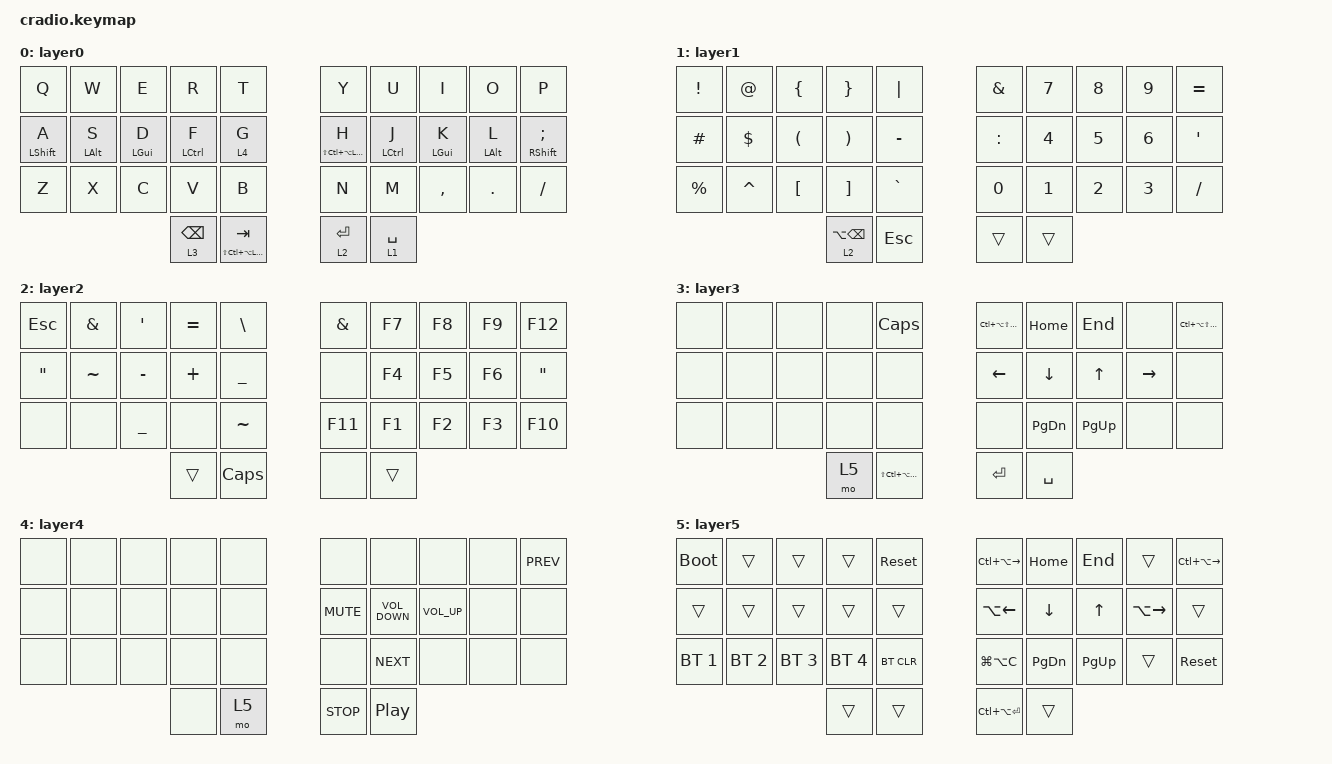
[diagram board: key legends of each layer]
/*
 * Copyright (c) 2020 The ZMK Contributors
 *
 * SPDX-License-Identifier: MIT
 */

#undef ZMK_BEHAVIORS_KEEP_ALL

// urob hrmod helpers
#include "zmk-helpers/helper.h"
#include "zmk-helpers/key-labels/34.h"

#include <behaviors.dtsi>
#include <dt-bindings/zmk/keys.h>
#include <dt-bindings/zmk/bt.h>

#define L0 0
#define L1 1
#define L2 2
#define L3 3
#define L4 4
#define L5 5

#define KEYS_L LT0 LT1 LT2 LT3 LT4 LM0 LM1 LM2 LM3 LM4 LB0 LB1 LB2 LB3 LB4  // left hand
#define KEYS_R RT0 RT1 RT2 RT3 RT4 RM0 RM1 RM2 RM3 RM4 RB0 RB1 RB2 RB3 RB4  // right hand
#define THUMBS LH1 LH0 RH0 RH1                                              // thumbs

ZMK_HOLD_TAP(hml,
    flavor = "balanced";
    tapping-term-ms = <280>;
    require-prior-idle-ms = <150>;
    hold-trigger-key-positions = <KEYS_R THUMBS>;
    hold-trigger-on-release;
    bindings = <&kp>, <&kp>;
)

ZMK_HOLD_TAP(hmr,
    flavor = "balanced";
    tapping-term-ms = <280>;
    require-prior-idle-ms = <150>;
    hold-trigger-key-positions = <KEYS_L THUMBS>;
    hold-trigger-on-release;
    bindings = <&kp>, <&kp>;
)

&lt {
    tapping-term-ms = <200>;
    flavor = "tap-preferred";
    require-prior-idle-ms = <50>;
};

&mt {
    tapping-term-ms = <200>;
    flavor = "tap-preferred";
    require-prior-idle-ms = <50>;
};

/ {
    keymap {
        compatible = "zmk,keymap";

        // Layer 0
        /*
         * Layer 0 - Expermimental Homerow mods layer
         *           it is a copy of layer 1, with ctrl/alt/gui/shit on homerow keys
         *     ┌────┬────┬────┬────┬────┐      ┌────┬────┬────┬────┬────┐
         *     │  Q │  W │  E │  R │  T │      │  Y │  U │  I │  O │  P │
         *     ├────┼────┼────┼────┼────┤      ├────┼────┼────┼────┼────┤
         *     │  A │  S │  D │  F │  G │      │  H │  J │  K │  L │  ; │
         *     ├────┼────┼────┼────┼────┤      ├────┼────┼────┼────┼────┤
         *     │  Z │  X │  C │  V │  B │      │  N │  M │  , │  . │  / │
         *     └────┴────┴────┼────┼────┘      └────┼────┼────┴────┴────┘
         *                    │BKSP│TAB │      │ENTR│SPC │
         *                    └────┴────┘      └────┴────┘
         *                     ctrl cmd         alt  MO 1
         *
         * Layer 0 alt hold keys
         *     ┌────┬────┬────┬────┬────┐      ┌────┬────┬────┬────┬────┐
         *     │    │    │    │    │    │      │    │    │    │    │    │
         *     ├────┼────┼────┼────┼────┤      ├────┼────┼────┼────┼────┤
         *     │SHFT│ALT │GUI │CTRL│LY-4│      │HYPR│CTRL│GUI │ALT │SHFT│
         *     ├────┼────┼────┼────┼────┤      ├────┼────┼────┼────┼────┤
         *     │    │    │    │    │    │      │    │    │    │    │    │
         *     └────┴────┴────┼────┼────┘      └────┼────┼────┴────┴────┘
         *                    │LY-3│HYPR│      │LY-2│SYMB│
         *                    └────┴────┘      └────┴────┘
         *                       |_____________________|
         *                                  |
         *                    combo these more symbols (layer 2)
         *
         */
        layer0 {
            bindings = <
                &kp Q         &kp W  &kp E  &kp R  &kp T                                          &kp Y  &kp U     &kp I     &kp O    &kp P     
                &hml LSHIFT A &hml LALT S &hml LGUI D &hml LCTRL F  &lt L4 G          &mt LS(LC(LA(LGUI))) H  &hmr LCTRL J &hmr LGUI K &hmr LALT L &hmr RSHIFT SEMI  
                &kp Z  &kp X  &kp C  &kp V  &kp B                                                 &kp N  &kp M  &kp COMMA &kp DOT  &kp SLASH 
                           &lt L3 BSPC &mt LS(LC(LA(LGUI))) TAB                                                &lt L2 ENTER  &lt L1 SPACE  
            >;
        };

        /*
         * Layer 1 - symbols layer 1
         * Hold Space
         *     ┌────┬────┬────┬────┬────┐      ┌────┬────┬────┬────┬────┐
         *     │  ! │  @ │  { │  } │  | │      │  & │  7 │  8 │  9 │  = │
         *     ├────┼────┼────┼────┼────┤      ├────┼────┼────┼────┼────┤
         *     │  # │  $ │  ( │  ) │  - │      │  : │  4 │  5 │  6 │  ' │
         *     ├────┼────┼────┼────┼────┤      ├────┼────┼────┼────┼────┤
         *     │  % │  ^ │  [ │  ] │  ` │      │  0 │  1 │  2 │  3 │  / │
         *     └────┴────┴────┼────┼────┘      └────┼────┼────┴────┴────┘
         *                    │more│ ESC│      │ NA │ ❇️  │
         *                    └────┴────┘      └────┴────┘
         *                       |_____________________|
         *                                  |
         *           combo space + backspace for more symbols (layer 2)
         */
        layer1 {
            bindings = <
                &kp EXCL  &kp AT   &kp LBRC  &kp RBRC  &kp PIPE               &kp AMPS  &kp N7  &kp N8  &kp N9  &kp EQUAL 
                &kp HASH  &kp DOLLAR  &kp LPAR  &kp RPAR  &kp MINUS           &kp COLON &kp N4  &kp N5  &kp N6  &kp SQT
                &kp PRCNT &kp CARET   &kp LBKT  &kp RBKT  &kp GRAVE           &kp N0    &kp N1  &kp N2  &kp N3  &kp FSLH
                                   &lt L2 LA(BSPC)  &kp ESC                            &trans  &trans  
            >; 
        };

        /*
         * Layer 2 - symbols layer 2
         * Combo Space & Backspace
         *     ┌────┬────┬────┬────┬────┐      ┌────┬────┬────┬────┬────┐
         *     │ESC │  & │  * │  = │  \ │      │  & │  F7│ F8 │ F9 │ F12│
         *     ├────┼────┼────┼────┼────┤      ├────┼────┼────┼────┼────┤
         *     │  " │  ~ │  - │  + │  _ │      │ NA │  F4│  F5│  F6│  " │
         *     ├────┼────┼────┼────┼────┤      ├────┼────┼────┼────┼────┤
         *     │ NA │ NA │  _ │ NA │  ~ │      │ F1 │  F1│  F2│  F3│ F10│
         *     └────┴────┴────┼────┼────┘      └────┼────┼────┴────┴────┘
         *                    │ ❇️  │CAPS│      │    │ ❇️  │
         *                    └────┴────┘      └────┴────┘
         *              (more symbols)
         */
        layer2 {
            bindings = <
                &kp ESC  &kp AMPS  &kp APOS   &kp EQUAL &kp BSLH          &kp AMPS &kp F7  &kp F8  &kp F9  &kp F12  
                &kp DQT  &kp TILDE &kp MINUS  &kp PLUS  &kp UNDER         &none    &kp F4  &kp F5  &kp F6  &kp DQT
                &none    &none     &kp UNDER  &none     &kp TILDE         &kp F11  &kp F1  &kp F2  &kp F3  &kp F10  
                                   &trans  &kp CAPS                                &none &trans
            >;
        };

        /*
         * Layer 3 - Navigation Layer
         * Hold F
         *     ┌────┬────┬────┬────┬────┐      ┌────┬────┬────┬────┬────┐
         *     │    │    │    │    │    │      │home│end │    │    │    │
         *     ├────┼────┼────┼────┼────┤      ├────┼────┼────┼────┼────┤
         *     │    │    │    │ ❇️  │    │      │ ⬅  │ ⬇  │ ⬆  │  ⮕ │    │
         *     ├────┼────┼────┼────┼────┤      ├────┼────┼────┼────┼────┤
         *     │    │    │    │    │    │      │    │pgdn│pgup│    │    │
         *     └────┴────┴────┼────┼────┘      └────┼────┼────┴────┴────┘
         *                    │ L5 │SPCS│      │    │    │
         *                    └────┴────┘      └────┴────┘
         *              (more symbols)
         */
        layer3 {
            bindings = <
                &none  &none  &none  &none  &kp CAPS                          &kp LC(LA(LS(LG(LEFT)))) &kp HOME   &kp END    &none      &kp LC(LA(LS(LG(RIGHT))))  
                &none  &none  &none  &none  &none                             &kp LEFT                   &kp DOWN   &kp UP     &kp RIGHT  &none  
                &none  &none  &none  &none  &none                             &none                      &kp PG_DN  &kp PG_UP  &none      &none  
                          &mo L5 &kp LS(LC(LA(LG(UP))))                                                   &kp ENTER  &kp SPACE
            >;
        };

        /*
         * Layer 4 - Media Layer
         * Hold G
         *     ┌────┬────┬────┬────┬────┐      ┌────┬────┬────┬────┬────┐
         *     │    │    │    │    │    │      │    │    │    │    │prev│
         *     ├────┼────┼────┼────┼────┤      ├────┼────┼────┼────┼────┤
         *     │    │    │    │    │ ❇️  │      │mute│vol-│vol+│    │    │
         *     ├────┼────┼────┼────┼────┤      ├────┼────┼────┼────┼────┤
         *     │    │    │    │    │    │      │    │next│    │    │    │
         *     └────┴────┴────┼────┼────┘      └────┼────┼────┴────┴────┘
         *                    │    │    │      │stop│play│
         *                    └────┴────┘      └────┴────┘
         */
        layer4 {
            bindings = <
                &none  &none  &none  &none  &none             &none       &none             &none            &none      &kp C_PREV 
                &none  &none  &none  &none  &none             &kp C_MUTE  &kp C_VOLUME_DOWN &kp C_VOLUME_UP  &none      &none       
                &none  &none  &none  &none  &none             &none       &kp C_NEXT        &none            &none      &none       
                        &none  &mo L5                             &kp C_STOP  &kp C_PLAY_PAUSE
            >;
        };

        /*
         * Layer 5: More Navigation
         * - Alt Arrow Key word jumping
         * - Window Snapping
         *     ┌────┬────┬────┬────┬────┐      ┌────┬────┬────┬────┬────┐
         *     │RSET│    │    │    │    │      │SNP⬅│HOME│END │    │SNP⮕│
         *     ├────┼────┼────┼────┼────┤      ├────┼────┼────┼────┼────┤
         *     │    │    │    │ ❇️  │    │      │    ⬅ ALT│ ⬇  │ ⬆  │ALT⮕│
         *     ├────┼────┼────┼────┼────┤      ├────┼────┼────┼────┼────┤
         *     │BT-1│BT-2│BT-3│BT-4│CLRBT      │Hist│    │ PG⬇│ PG⬆│RSET│
         *     └────┴────┴────┼────┼────┘      └────┼────┼────┴────┴────┘
         *                    │ ❇️  │    │      │Full│    │
         *                    └────┴────┘      └────┴────┘
         */
        layer5 {
            bindings = <
                &bootloader  &trans        &trans        &trans        &sys_reset            &kp LC(LA(RIGHT))   &kp HOME  &kp END    &trans        &kp LC(LA(RIGHT))  
                &trans       &trans        &trans        &trans        &trans                &kp LA(LEFT)        &kp DOWN  &kp UP     &kp LA(RIGHT) &trans  
                &bt BT_SEL 1 &bt BT_SEL 2  &bt BT_SEL 3  &bt BT_SEL 4  &bt BT_CLR            &kp LG(LA(C))       &kp PG_DN &kp PG_UP  &trans        &sys_reset  
                               &trans &trans                                                          &kp LC(LA(ENTER))   &trans 
            >;
        };

    };
};
